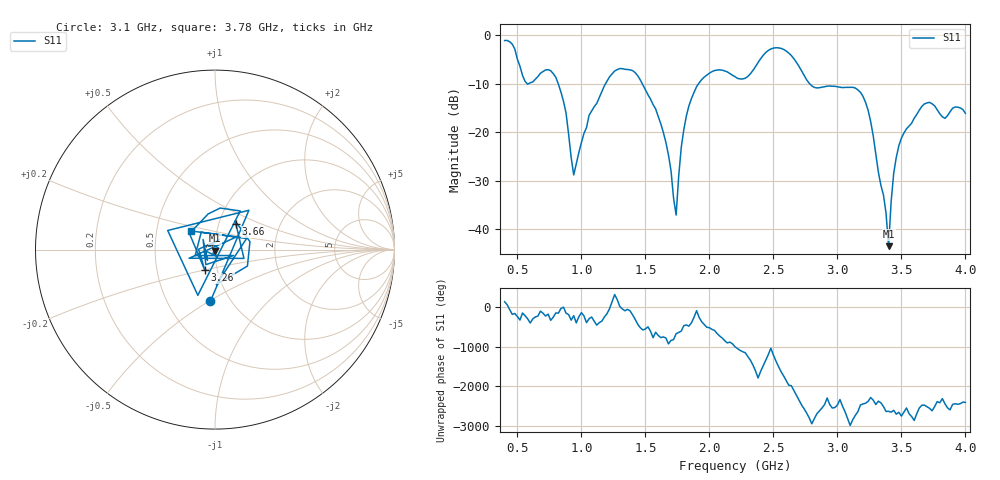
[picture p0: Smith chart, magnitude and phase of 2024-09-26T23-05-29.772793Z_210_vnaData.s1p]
!Created with skrf (http://scikit-rf.org).
# Hz S RI R 50.0
!freq ReS11 ImS11
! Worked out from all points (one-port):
!   181 points, 400 MHz to 4 GHz, reference 50 ohm
!   lowest |S11| = -43.4 dB at 3.4 GHz (marker M1), VSWR 1.01, Z = 49.9 - j0.659 ohm
!   |S11| at or under -10 dB: 818.4 MHz to 1.189 GHz (370.7 MHz wide, 36.9 % of centre); 1.475 GHz to 1.916 GHz (441.5 MHz wide, 26 % of centre); 2.782 GHz to end of sweep (the widest 3 of 4)
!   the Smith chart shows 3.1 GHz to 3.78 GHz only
!   S11 on the Smith chart (normalised r, x): 3.1 GHz: 0.81, -0.51; 3.26 GHz: 0.87, -0.20; 3.66 GHz: 1.21, +0.36; 3.78 GHz: 0.75, +0.16
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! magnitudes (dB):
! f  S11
! 400 MHz  -1.2
! 580 MHz  -10.1
! 760 MHz  -7.4
! 860 MHz  -13.6
! 940 MHz  -28.8
! 1.06 GHz  -16.5
! 1.3 GHz  -6.9
! 1.42 GHz  -7.8
! 1.58 GHz  -15.2
! 1.68 GHz  -24.7
! 1.74 GHz  -37.0
! 1.76 GHz  -29.1
! 1.82 GHz  -16.7
! 1.9 GHz  -10.6
! 2.2 GHz  -8.6
! 2.5 GHz  -2.7
! 2.66 GHz  -4.9
! 2.82 GHz  -10.8
! 3.1 GHz  -10.8
! 3.26 GHz  -17.8
! 3.36 GHz  -32.9
! 3.4 GHz  -43.4
! 3.42 GHz  -34.2
! 3.46 GHz  -25.2
! 3.56 GHz  -18.7
! 3.66 GHz  -14.7
! 3.78 GHz  -15.4
! 4 GHz  -16.1
